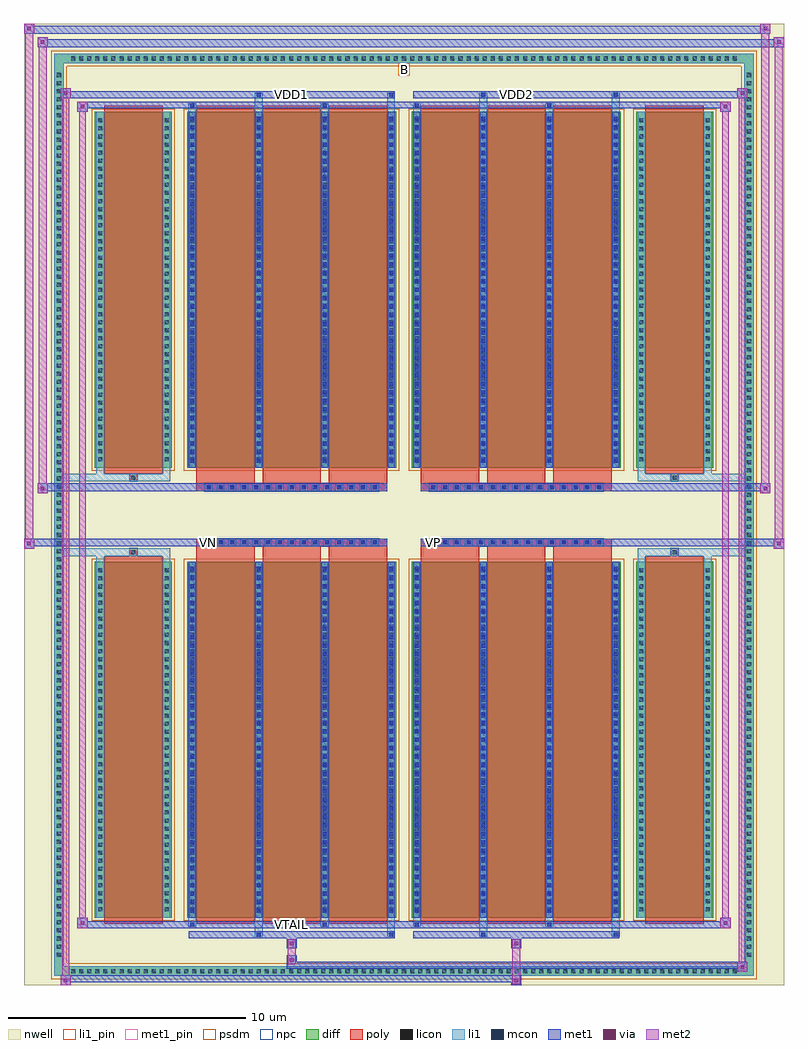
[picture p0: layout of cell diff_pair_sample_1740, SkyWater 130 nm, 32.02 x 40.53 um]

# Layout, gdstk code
import gdstk
lib = gdstk.Library(unit=1e-6, precision=5e-09)
def R(c, l, rs):  # rectangles x0, y0, x1, y1
    for r in rs: c.add(gdstk.rectangle(r[:2], r[2:], *l))
def A(c, l, x, y, w, h, nx, ny, dx, dy):  # array of equal rectangles
    R(c, l, [(x+i*dx, y+j*dy, x+i*dx+w, y+j*dy+h) for i in range(nx) for j in range(ny)])
def P(c, l, *ps):  # polygons
    for p in ps: c.add(gdstk.Polygon(p, *l))
nwell = (64, 20)
diff = (65, 20)
poly = (66, 20)
licon = (66, 44)
li1_pin = (67, 16)
li1 = (67, 20)
mcon = (67, 44)
met1_pin = (68, 16)
met1 = (68, 20)
via = (68, 44)
met2 = (69, 20)
psdm = (94, 20)
npc = (95, 20)

diff_pair_sample_1740 = lib.new_cell('diff_pair_sample_1740')
R(diff_pair_sample_1740, nwell, [(-16.01,-19.83,16.01,20.7), (-13.33,-18.02,-0.01,-0.8), (0.01,-18.02,13.33,-0.8), (-13.33,0.8,-0.01,18.02), (0.01,0.8,13.33,18.02)])
A(diff_pair_sample_1740, diff, -14.145, -19.43, 0.41, 0.41, 83, 2, 0.34, 38.45)
A(diff_pair_sample_1740, diff, -14.74, -18.735, 0.41, 0.41, 1, 110, 0, 0.34)
A(diff_pair_sample_1740, diff, 14.33, -18.735, 0.41, 0.41, 1, 110, 0, 0.34)
R(diff_pair_sample_1740, diff, [(-14.145,-19.43,14.145,-19.02), (-14.74,-18.735,-14.33,18.735), (14.33,-18.735,14.74,18.735), (-13.02,-16.975,-9.78,-1.985), (-9.14,-16.975,-0.32,-1.985), (0.32,-16.975,9.14,-1.985), (9.78,-16.975,13.02,-1.985), (-13.02,1.985,-9.78,16.975), (-9.14,1.985,-0.32,16.975), (0.32,1.985,9.14,16.975), (9.78,1.985,13.02,16.975), (-14.145,19.02,14.145,19.43)])
P(diff_pair_sample_1740, diff, [(14.74,19.43),(-14.74,19.43),(-14.74,-19.02),(-14.33,-19.02),(-14.33,19.02),(14.33,19.02),(14.33,-19.02),(-14.33,-19.02),(-14.74,-19.02),(-14.74,-19.43),(14.74,-19.43)])
A(diff_pair_sample_1740, poly, -8.75, -17.225, 2.46, 15.49, 3, 2, 2.79, 18.96)
A(diff_pair_sample_1740, poly, 0.71, -17.225, 2.46, 15.49, 3, 2, 2.79, 18.96)
A(diff_pair_sample_1740, poly, -8.75, -1.735, 2.46, 0.405, 3, 2, 2.79, 3.065)
A(diff_pair_sample_1740, poly, 0.71, -1.735, 2.46, 0.405, 3, 2, 2.79, 3.065)
A(diff_pair_sample_1740, poly, -8.395, -1.33, 0.33, 0.33, 15, 2, 0.5, 2.33)
A(diff_pair_sample_1740, poly, 1.065, -1.33, 0.33, 0.33, 15, 2, 0.5, 2.33)
R(diff_pair_sample_1740, poly, [(-12.63,-17.225,-10.17,-1.735), (10.17,-17.225,12.63,-1.735), (-11.565,-1.735,-11.235,-1.405), (-11.565,-1.735,-11.235,-1.405), (11.235,-1.735,11.565,-1.405), (11.235,-1.735,11.565,-1.405), (-8.75,-1.33,-0.71,-1), (0.71,-1.33,8.75,-1), (-8.75,1,-0.71,1.33), (0.71,1,8.75,1.33), (-11.565,1.405,-11.235,1.735), (-11.565,1.405,-11.235,1.735), (11.235,1.405,11.565,1.735), (11.235,1.405,11.565,1.735), (-12.63,1.735,-10.17,17.225), (10.17,1.735,12.63,17.225)])
A(diff_pair_sample_1740, licon, -14.025, -19.31, 0.17, 0.17, 83, 2, 0.34, 38.45)
A(diff_pair_sample_1740, licon, -14.62, -18.615, 0.17, 0.17, 1, 110, 0, 0.34)
A(diff_pair_sample_1740, licon, 14.45, -18.615, 0.17, 0.17, 1, 110, 0, 0.34)
A(diff_pair_sample_1740, licon, -12.88, -16.705, 0.17, 0.17, 1, 43, 0, 0.34)
A(diff_pair_sample_1740, licon, -10.09, -16.705, 0.17, 0.17, 1, 43, 0, 0.34)
A(diff_pair_sample_1740, licon, -9, -16.705, 0.17, 0.17, 4, 43, 2.79, 0.34)
A(diff_pair_sample_1740, licon, 0.46, -16.705, 0.17, 0.17, 4, 43, 2.79, 0.34)
A(diff_pair_sample_1740, licon, 9.92, -16.705, 0.17, 0.17, 1, 43, 0, 0.34)
A(diff_pair_sample_1740, licon, 12.71, -16.705, 0.17, 0.17, 1, 43, 0, 0.34)
A(diff_pair_sample_1740, licon, -8.315, -1.25, 0.17, 0.17, 15, 2, 0.5, 2.33)
A(diff_pair_sample_1740, licon, 1.145, -1.25, 0.17, 0.17, 15, 2, 0.5, 2.33)
A(diff_pair_sample_1740, licon, -12.88, 2.255, 0.17, 0.17, 1, 43, 0, 0.34)
A(diff_pair_sample_1740, licon, -10.09, 2.255, 0.17, 0.17, 1, 43, 0, 0.34)
A(diff_pair_sample_1740, licon, -9, 2.255, 0.17, 0.17, 4, 43, 2.79, 0.34)
A(diff_pair_sample_1740, licon, 0.46, 2.255, 0.17, 0.17, 4, 43, 2.79, 0.34)
A(diff_pair_sample_1740, licon, 9.92, 2.255, 0.17, 0.17, 1, 43, 0, 0.34)
A(diff_pair_sample_1740, licon, 12.71, 2.255, 0.17, 0.17, 1, 43, 0, 0.34)
R(diff_pair_sample_1740, licon, [(-11.485,-1.655,-11.315,-1.485), (11.315,-1.655,11.485,-1.485), (-11.485,1.485,-11.315,1.655), (11.315,1.485,11.485,1.655)])
R(diff_pair_sample_1740, li1_pin, [(-0.25,18.52,0.25,19.02)])
A(diff_pair_sample_1740, li1, -14.105, -19.39, 0.33, 0.33, 83, 2, 0.34, 38.45)
A(diff_pair_sample_1740, li1, -14.7, -18.695, 0.33, 0.33, 1, 110, 0, 0.34)
A(diff_pair_sample_1740, li1, 14.37, -18.695, 0.33, 0.33, 1, 110, 0, 0.34)
A(diff_pair_sample_1740, li1, -9.08, -16.975, 0.33, 14.99, 4, 2, 2.79, 18.96)
A(diff_pair_sample_1740, li1, 0.38, -16.975, 0.33, 14.99, 4, 2, 2.79, 18.96)
A(diff_pair_sample_1740, li1, -12.96, -16.785, 0.33, 0.33, 1, 43, 0, 0.34)
A(diff_pair_sample_1740, li1, -10.17, -16.785, 0.33, 0.33, 1, 43, 0, 0.34)
A(diff_pair_sample_1740, li1, -9.08, -16.785, 0.33, 0.33, 4, 43, 2.79, 0.34)
A(diff_pair_sample_1740, li1, 0.38, -16.785, 0.33, 0.33, 4, 43, 2.79, 0.34)
A(diff_pair_sample_1740, li1, 9.84, -16.785, 0.33, 0.33, 1, 43, 0, 0.34)
A(diff_pair_sample_1740, li1, 12.63, -16.785, 0.33, 0.33, 1, 43, 0, 0.34)
A(diff_pair_sample_1740, li1, -9, -16.765, 0.17, 0.17, 4, 41, 2.79, 0.36)
A(diff_pair_sample_1740, li1, -9, -16.765, 0.17, 14.57, 4, 2, 2.79, 18.96)
A(diff_pair_sample_1740, li1, 0.46, -16.765, 0.17, 0.17, 4, 41, 2.79, 0.36)
A(diff_pair_sample_1740, li1, 0.46, -16.765, 0.17, 14.57, 4, 2, 2.79, 18.96)
A(diff_pair_sample_1740, li1, -8.395, -1.33, 0.33, 0.33, 15, 2, 0.5, 2.33)
A(diff_pair_sample_1740, li1, 1.065, -1.33, 0.33, 0.33, 15, 2, 0.5, 2.33)
A(diff_pair_sample_1740, li1, -12.96, 2.175, 0.33, 0.33, 1, 43, 0, 0.34)
A(diff_pair_sample_1740, li1, -10.17, 2.175, 0.33, 0.33, 1, 43, 0, 0.34)
A(diff_pair_sample_1740, li1, -9.08, 2.175, 0.33, 0.33, 4, 43, 2.79, 0.34)
A(diff_pair_sample_1740, li1, 0.38, 2.175, 0.33, 0.33, 4, 43, 2.79, 0.34)
A(diff_pair_sample_1740, li1, 9.84, 2.175, 0.33, 0.33, 1, 43, 0, 0.34)
A(diff_pair_sample_1740, li1, 12.63, 2.175, 0.33, 0.33, 1, 43, 0, 0.34)
A(diff_pair_sample_1740, li1, -9, 2.195, 0.17, 0.17, 4, 41, 2.79, 0.36)
A(diff_pair_sample_1740, li1, 0.46, 2.195, 0.17, 0.17, 4, 41, 2.79, 0.36)
R(diff_pair_sample_1740, li1, [(-14.74,-19.43,-14.33,-19.02), (-14.74,-19.43,-14.33,-19.02), (-14.33,-19.43,14.33,-19.02), (14.33,-19.43,14.74,-19.02), (14.33,-19.43,14.74,-19.02), (-14.74,-19.02,-14.33,19.02), (14.33,-19.02,14.74,19.02), (-6.29,-17.78,-5.96,-16.975), (-6.21,-17.78,-6.04,-17.61), (-0.71,-17.78,-0.38,-16.975), (-0.63,-17.78,-0.46,-17.61), (3.17,-17.78,3.5,-16.975), (3.25,-17.78,3.42,-17.61), (8.75,-17.78,9.08,-16.975), (8.83,-17.78,9,-17.61), (-9.08,-17.35,-8.75,-16.975), (-9,-17.35,-8.83,-17.18), (-3.5,-17.35,-3.17,-16.975), (-3.42,-17.35,-3.25,-17.18), (0.38,-17.35,0.71,-16.975), (0.46,-17.35,0.63,-17.18), (5.96,-17.35,6.29,-16.975), (6.04,-17.35,6.21,-17.18), (-12.96,-16.975,-12.63,-1.985), (-10.17,-16.975,-9.84,-1.985), (9.84,-16.975,10.17,-1.985), (12.63,-16.975,12.96,-1.985), (-12.96,-1.985,-12.63,-1.405), (-10.17,-1.985,-9.84,-1.405), (9.84,-1.985,10.17,-1.405), (12.63,-1.985,12.96,-1.405), (-14.74,-1.735,-11.565,-1.405), (-12.96,-1.735,-11.565,-1.405), (-11.565,-1.735,-11.235,-1.405), (-11.235,-1.735,-9.84,-1.405), (9.84,-1.735,11.235,-1.405), (11.235,-1.735,11.565,-1.405), (11.235,-1.735,14.74,-1.405), (11.565,-1.735,12.96,-1.405), (-14.74,1.405,-11.565,1.735), (-12.96,1.405,-11.565,1.735), (-12.96,1.405,-12.63,1.985), (-11.565,1.405,-11.235,1.735), (-11.235,1.405,-9.84,1.735), (-10.17,1.405,-9.84,1.985), (9.84,1.405,11.235,1.735), (9.84,1.405,10.17,1.985), (11.235,1.405,11.565,1.735), (11.235,1.405,14.74,1.735), (11.565,1.405,12.96,1.735), (12.63,1.405,12.96,1.985), (-12.96,1.985,-12.63,16.975), (-10.17,1.985,-9.84,16.975), (9.84,1.985,10.17,16.975), (12.63,1.985,12.96,16.975), (-9.08,16.975,-8.75,17.35), (-6.29,16.975,-5.96,17.78), (-3.5,16.975,-3.17,17.35), (-0.71,16.975,-0.38,17.78), (0.38,16.975,0.71,17.35), (3.17,16.975,3.5,17.78), (5.96,16.975,6.29,17.35), (8.75,16.975,9.08,17.78), (-9,17.18,-8.83,17.35), (-3.42,17.18,-3.25,17.35), (0.46,17.18,0.63,17.35), (6.04,17.18,6.21,17.35), (-6.21,17.61,-6.04,17.78), (-0.63,17.61,-0.46,17.78), (3.25,17.61,3.42,17.78), (8.83,17.61,9,17.78), (-14.74,19.02,-14.33,19.43), (-14.74,19.02,-14.33,19.43), (-14.33,19.02,14.33,19.43), (14.33,19.02,14.74,19.43), (14.33,19.02,14.74,19.43)])
A(diff_pair_sample_1740, mcon, -9, -16.765, 0.17, 0.17, 4, 41, 2.79, 0.36)
A(diff_pair_sample_1740, mcon, 0.46, -16.765, 0.17, 0.17, 4, 41, 2.79, 0.36)
A(diff_pair_sample_1740, mcon, -8.315, -1.25, 0.17, 0.17, 15, 2, 0.5, 2.33)
A(diff_pair_sample_1740, mcon, 1.145, -1.25, 0.17, 0.17, 15, 2, 0.5, 2.33)
A(diff_pair_sample_1740, mcon, -9, 2.195, 0.17, 0.17, 4, 41, 2.79, 0.36)
A(diff_pair_sample_1740, mcon, 0.46, 2.195, 0.17, 0.17, 4, 41, 2.79, 0.36)
R(diff_pair_sample_1740, mcon, [(-6.21,-17.78,-6.04,-17.61), (-0.63,-17.78,-0.46,-17.61), (3.25,-17.78,3.42,-17.61), (8.83,-17.78,9,-17.61), (-9,-17.35,-8.83,-17.18), (-3.42,-17.35,-3.25,-17.18), (0.46,-17.35,0.63,-17.18), (6.04,-17.35,6.21,-17.18), (-9,17.18,-8.83,17.35), (-3.42,17.18,-3.25,17.35), (0.46,17.18,0.63,17.35), (6.04,17.18,6.21,17.35), (-6.21,17.61,-6.04,17.78), (-0.63,17.61,-0.46,17.78), (3.25,17.61,3.42,17.78), (8.83,17.61,9,17.78)])
R(diff_pair_sample_1740, met1_pin, [(-4.865,-17.39,-4.595,-17.12), (-8.365,-1.29,-8.095,-1.02), (1.095,-1.29,1.365,-1.02), (-4.865,17.57,-4.595,17.84), (4.595,17.57,4.865,17.84)])
A(diff_pair_sample_1740, met1, -9.06, -16.975, 0.29, 14.99, 4, 2, 2.79, 18.96)
A(diff_pair_sample_1740, met1, 0.4, -16.975, 0.29, 14.99, 4, 2, 2.79, 18.96)
A(diff_pair_sample_1740, met1, -9.06, -16.825, 0.29, 0.29, 4, 41, 2.79, 0.36)
A(diff_pair_sample_1740, met1, 0.4, -16.825, 0.29, 0.29, 4, 41, 2.79, 0.36)
A(diff_pair_sample_1740, met1, -8.375, -1.31, 0.29, 0.29, 15, 2, 0.5, 2.33)
A(diff_pair_sample_1740, met1, 1.085, -1.31, 0.29, 0.29, 15, 2, 0.5, 2.33)
A(diff_pair_sample_1740, met1, -9.06, 2.135, 0.29, 0.29, 4, 41, 2.79, 0.36)
A(diff_pair_sample_1740, met1, 0.4, 2.135, 0.29, 0.29, 4, 41, 2.79, 0.36)
R(diff_pair_sample_1740, met1, [(-14.47,-19.83,-14.04,-19.4), (4.515,-19.83,4.945,-19.4), (-14.47,-19.69,4.945,-19.4), (14.04,-19.26,14.47,-18.83), (-4.945,-19.12,14.47,-18.83), (-4.945,-18.98,-4.515,-18.55), (-4.945,-18.27,-4.515,-17.84), (4.515,-18.27,4.945,-17.84), (-9.06,-17.84,-0.4,-17.55), (-6.27,-17.84,-5.98,-17.55), (-0.69,-17.84,-0.4,-17.55), (0.4,-17.84,9.06,-17.55), (3.19,-17.84,3.48,-17.55), (8.77,-17.84,9.06,-17.55), (-13.76,-17.41,-13.33,-16.98), (-13.76,-17.41,-9.06,-17.12), (-9.06,-17.41,-8.77,-17.12), (-9.06,-17.41,-0.4,-17.12), (-3.48,-17.41,-3.19,-17.12), (-0.4,-17.41,0.4,-17.12), (0.4,-17.41,0.69,-17.12), (0.4,-17.41,9.06,-17.12), (5.98,-17.41,6.27,-17.12), (9.06,-17.41,13.76,-17.12), (13.33,-17.41,13.76,-16.98), (-16.01,-1.43,-15.58,-1), (15.58,-1.43,16.01,-1), (-16.01,-1.33,-0.71,-1), (-8.75,-1.33,-0.71,-1), (0.71,-1.33,8.75,-1), (0.71,-1.33,16.01,-1), (-15.44,0.9,-15.01,1.33), (15.01,0.9,15.44,1.33), (-15.44,1,-8.75,1.33), (-8.75,1,-0.71,1.33), (0.71,1,8.75,1.33), (8.75,1,15.44,1.33), (-13.76,16.98,-13.33,17.41), (13.33,16.98,13.76,17.41), (-13.76,17.12,-9.06,17.41), (-9.06,17.12,-8.77,17.41), (-9.06,17.12,-0.4,17.41), (-3.48,17.12,-3.19,17.41), (-0.4,17.12,0.4,17.41), (0.4,17.12,0.69,17.41), (0.4,17.12,9.06,17.41), (5.98,17.12,6.27,17.41), (9.06,17.12,13.76,17.41), (-14.47,17.55,-14.04,17.98), (-14.47,17.55,-9.06,17.84), (-9.06,17.55,-0.4,17.84), (-6.27,17.55,-5.98,17.84), (-0.69,17.55,-0.4,17.84), (0.4,17.55,9.06,17.84), (3.19,17.55,3.48,17.84), (8.77,17.55,9.06,17.84), (9.06,17.55,14.47,17.84), (14.04,17.55,14.47,17.98), (-15.44,19.7,-15.01,20.13), (-15.44,19.7,-13.33,20.03), (-13.33,19.7,13.33,20.03), (13.33,19.7,16.01,20.03), (15.58,19.7,16.01,20.13), (-16.01,20.27,-15.58,20.7), (-16.01,20.27,-13.33,20.6), (-13.33,20.27,13.33,20.6), (13.33,20.27,15.44,20.6), (15.01,20.27,15.44,20.7)])
R(diff_pair_sample_1740, via, [(-14.33,-19.69,-14.18,-19.54), (4.655,-19.69,4.805,-19.54), (14.18,-19.12,14.33,-18.97), (-4.805,-18.84,-4.655,-18.69), (-4.805,-18.13,-4.655,-17.98), (4.655,-18.13,4.805,-17.98), (-13.62,-17.27,-13.47,-17.12), (13.47,-17.27,13.62,-17.12), (-15.87,-1.29,-15.72,-1.14), (15.72,-1.29,15.87,-1.14), (-15.3,1.04,-15.15,1.19), (15.15,1.04,15.3,1.19), (-13.62,17.12,-13.47,17.27), (13.47,17.12,13.62,17.27), (-14.33,17.69,-14.18,17.84), (14.18,17.69,14.33,17.84), (-15.3,19.84,-15.15,19.99), (15.72,19.84,15.87,19.99), (-15.87,20.41,-15.72,20.56), (15.15,20.41,15.3,20.56)])
R(diff_pair_sample_1740, met2, [(-14.47,-19.83,-14.04,-19.4), (-14.4,-19.83,-14.11,17.98), (-14.11,-19.83,-14.04,-19.4), (-14.42,-19.78,-14.09,-19.45), (4.565,-19.78,4.895,-19.45), (4.565,-19.45,4.895,-18.22), (14.04,-19.26,14.47,-18.83), (14.11,-19.26,14.4,17.98), (14.4,-19.26,14.47,-18.83), (14.09,-19.21,14.42,-18.88), (-4.895,-18.93,-4.565,-18.6), (-4.895,-18.6,-4.565,-18.22), (-4.895,-18.22,-4.565,-17.89), (4.565,-18.22,4.895,-17.89), (-13.76,-17.41,-13.33,-16.98), (-13.69,-17.41,-13.4,17.41), (-13.4,-17.41,-13.33,-16.98), (13.33,-17.41,13.76,-16.98), (13.4,-17.41,13.69,17.41), (13.69,-17.41,13.76,-16.98), (-13.71,-17.36,-13.38,-17.03), (13.38,-17.36,13.71,-17.03), (-16.01,-1.43,-15.58,-1), (-15.96,-1.43,-15.63,20.7), (-15.63,-1.43,-15.58,-1), (15.58,-1.43,16.01,-1), (15.63,-1.43,15.96,20.13), (15.96,-1.43,16.01,-1), (-15.96,-1.38,-15.63,-1.05), (15.63,-1.38,15.96,-1.05), (-15.44,0.9,-15.01,1.33), (-15.39,0.9,-15.06,20.13), (-15.06,0.9,-15.01,1.33), (15.01,0.9,15.44,1.33), (15.06,0.9,15.39,20.7), (15.39,0.9,15.44,1.33), (-15.39,0.95,-15.06,1.28), (15.06,0.95,15.39,1.28), (-13.76,16.98,-13.33,17.41), (-13.4,16.98,-13.33,17.41), (13.33,16.98,13.76,17.41), (13.69,16.98,13.76,17.41), (-13.71,17.03,-13.38,17.36), (13.38,17.03,13.71,17.36), (-14.47,17.55,-14.04,17.98), (-14.11,17.55,-14.04,17.98), (14.04,17.55,14.47,17.98), (14.4,17.55,14.47,17.98), (-14.42,17.6,-14.09,17.93), (14.09,17.6,14.42,17.93), (-15.44,19.7,-15.01,20.13), (-15.06,19.7,-15.01,20.13), (15.58,19.7,16.01,20.13), (15.96,19.7,16.01,20.13), (-15.39,19.75,-15.06,20.08), (15.63,19.75,15.96,20.08), (-16.01,20.27,-15.58,20.7), (-15.63,20.27,-15.58,20.7), (15.01,20.27,15.44,20.7), (15.39,20.27,15.44,20.7), (-15.96,20.32,-15.63,20.65), (15.06,20.32,15.39,20.65)])
R(diff_pair_sample_1740, psdm, [(-13.15,-17.105,-9.65,-1.855), (-9.27,-17.105,-0.19,-1.855), (0.19,-17.105,9.27,-1.855), (9.65,-17.105,13.15,-1.855), (-13.15,1.855,-9.65,17.105), (-9.27,1.855,-0.19,17.105), (0.19,1.855,9.27,17.105), (9.65,1.855,13.15,17.105)])
P(diff_pair_sample_1740, psdm, [(14.87,19.56),(-14.87,19.56),(-14.87,-18.89),(-14.2,-18.89),(-14.2,18.89),(14.2,18.89),(14.2,-18.89),(-14.2,-18.89),(-14.87,-18.89),(-14.87,-19.56),(14.87,-19.56)])
A(diff_pair_sample_1740, npc, -8.415, -1.35, 0.37, 0.37, 15, 2, 0.5, 2.33)
A(diff_pair_sample_1740, npc, 1.045, -1.35, 0.37, 0.37, 15, 2, 0.5, 2.33)
R(diff_pair_sample_1740, npc, [(-11.585,-1.755,-11.215,-1.385), (11.215,-1.755,11.585,-1.385), (-8.415,-1.35,-7.545,-0.98), (-8.415,-1.35,-7.545,-0.98), (-7.915,-1.35,-7.045,-0.98), (-7.915,-1.35,-7.045,-0.98), (-7.415,-1.35,-6.545,-0.98), (-7.415,-1.35,-6.545,-0.98), (-6.915,-1.35,-6.045,-0.98), (-6.915,-1.35,-6.045,-0.98), (-6.415,-1.35,-5.545,-0.98), (-6.415,-1.35,-5.545,-0.98), (-5.915,-1.35,-5.045,-0.98), (-5.915,-1.35,-5.045,-0.98), (-5.415,-1.35,-4.545,-0.98), (-5.415,-1.35,-4.545,-0.98), (-4.915,-1.35,-4.045,-0.98), (-4.915,-1.35,-4.045,-0.98), (-4.415,-1.35,-3.545,-0.98), (-4.415,-1.35,-3.545,-0.98), (-3.915,-1.35,-3.045,-0.98), (-3.915,-1.35,-3.045,-0.98), (-3.415,-1.35,-2.545,-0.98), (-3.415,-1.35,-2.545,-0.98), (-2.915,-1.35,-2.045,-0.98), (-2.915,-1.35,-2.045,-0.98), (-2.415,-1.35,-1.545,-0.98), (-2.415,-1.35,-1.545,-0.98), (-1.915,-1.35,-1.045,-0.98), (-1.915,-1.35,-1.045,-0.98), (1.045,-1.35,1.915,-0.98), (1.045,-1.35,1.915,-0.98), (1.545,-1.35,2.415,-0.98), (1.545,-1.35,2.415,-0.98), (2.045,-1.35,2.915,-0.98), (2.045,-1.35,2.915,-0.98), (2.545,-1.35,3.415,-0.98), (2.545,-1.35,3.415,-0.98), (3.045,-1.35,3.915,-0.98), (3.045,-1.35,3.915,-0.98), (3.545,-1.35,4.415,-0.98), (3.545,-1.35,4.415,-0.98), (4.045,-1.35,4.915,-0.98), (4.045,-1.35,4.915,-0.98), (4.545,-1.35,5.415,-0.98), (4.545,-1.35,5.415,-0.98), (5.045,-1.35,5.915,-0.98), (5.045,-1.35,5.915,-0.98), (5.545,-1.35,6.415,-0.98), (5.545,-1.35,6.415,-0.98), (6.045,-1.35,6.915,-0.98), (6.045,-1.35,6.915,-0.98), (6.545,-1.35,7.415,-0.98), (6.545,-1.35,7.415,-0.98), (7.045,-1.35,7.915,-0.98), (7.045,-1.35,7.915,-0.98), (7.545,-1.35,8.415,-0.98), (7.545,-1.35,8.415,-0.98), (-8.415,0.98,-7.545,1.35), (-8.415,0.98,-7.545,1.35), (-7.915,0.98,-7.045,1.35), (-7.915,0.98,-7.045,1.35), (-7.415,0.98,-6.545,1.35), (-7.415,0.98,-6.545,1.35), (-6.915,0.98,-6.045,1.35), (-6.915,0.98,-6.045,1.35), (-6.415,0.98,-5.545,1.35), (-6.415,0.98,-5.545,1.35), (-5.915,0.98,-5.045,1.35), (-5.915,0.98,-5.045,1.35), (-5.415,0.98,-4.545,1.35), (-5.415,0.98,-4.545,1.35), (-4.915,0.98,-4.045,1.35), (-4.915,0.98,-4.045,1.35), (-4.415,0.98,-3.545,1.35), (-4.415,0.98,-3.545,1.35), (-3.915,0.98,-3.045,1.35), (-3.915,0.98,-3.045,1.35), (-3.415,0.98,-2.545,1.35), (-3.415,0.98,-2.545,1.35), (-2.915,0.98,-2.045,1.35), (-2.915,0.98,-2.045,1.35), (-2.415,0.98,-1.545,1.35), (-2.415,0.98,-1.545,1.35), (-1.915,0.98,-1.045,1.35), (-1.915,0.98,-1.045,1.35), (1.045,0.98,1.915,1.35), (1.045,0.98,1.915,1.35), (1.545,0.98,2.415,1.35), (1.545,0.98,2.415,1.35), (2.045,0.98,2.915,1.35), (2.045,0.98,2.915,1.35), (2.545,0.98,3.415,1.35), (2.545,0.98,3.415,1.35), (3.045,0.98,3.915,1.35), (3.045,0.98,3.915,1.35), (3.545,0.98,4.415,1.35), (3.545,0.98,4.415,1.35), (4.045,0.98,4.915,1.35), (4.045,0.98,4.915,1.35), (4.545,0.98,5.415,1.35), (4.545,0.98,5.415,1.35), (5.045,0.98,5.915,1.35), (5.045,0.98,5.915,1.35), (5.545,0.98,6.415,1.35), (5.545,0.98,6.415,1.35), (6.045,0.98,6.915,1.35), (6.045,0.98,6.915,1.35), (6.545,0.98,7.415,1.35), (6.545,0.98,7.415,1.35), (7.045,0.98,7.915,1.35), (7.045,0.98,7.915,1.35), (7.545,0.98,8.415,1.35), (7.545,0.98,8.415,1.35), (-11.585,1.385,-11.215,1.755), (11.215,1.385,11.585,1.755)])
diff_pair_sample_1740.add(gdstk.Label('VTAIL', (-4.73,-17.255), layer=68, texttype=5))
diff_pair_sample_1740.add(gdstk.Label('VN', (-8.23,-1.155), layer=68, texttype=5))
diff_pair_sample_1740.add(gdstk.Label('VP', (1.23,-1.155), layer=68, texttype=5))
diff_pair_sample_1740.add(gdstk.Label('B', (0,18.77), layer=67, texttype=5))
diff_pair_sample_1740.add(gdstk.Label('VDD2', (4.73,17.705), layer=68, texttype=5))
diff_pair_sample_1740.add(gdstk.Label('VDD1', (-4.73,17.705), layer=68, texttype=5))

lib.write_gds('diff_pair_sample_1740.gds')
